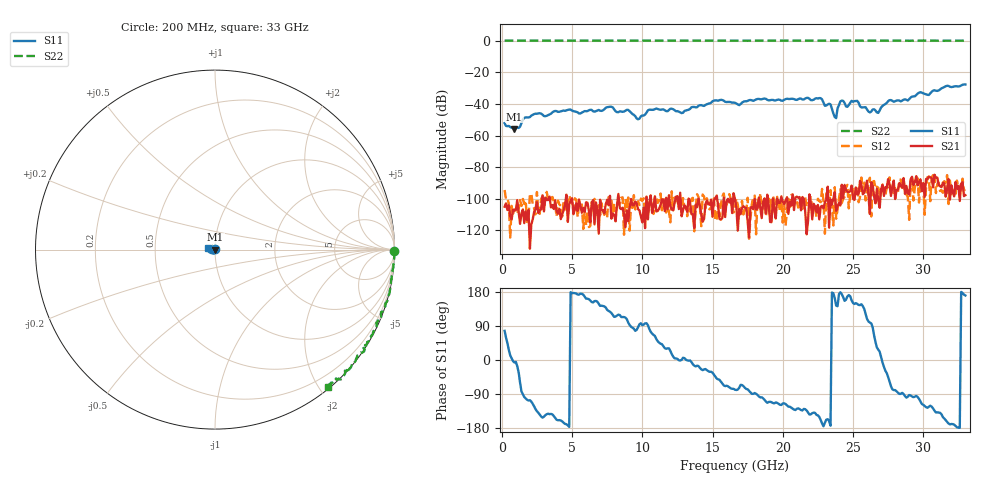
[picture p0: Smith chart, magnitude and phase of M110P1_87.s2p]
# GHZ S RI R 50
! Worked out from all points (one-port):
!   329 points, 200 MHz to 33 GHz, reference 50 ohm
!   lowest |S11| = -55.9 dB at 900 MHz (marker M1), VSWR 1.00, Z = 50.2 - j0.0185 ohm
!   |S11| at or under -10 dB: start of sweep to end of sweep
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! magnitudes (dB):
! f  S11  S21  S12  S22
! 200 MHz  -52.2  -105.0  -94.4  0.0
! 900 MHz  -55.9  -107.5  -106.7  0.0
! 2.4 GHz  -46.2  -106.8  -109.8  0.0
! 5.7 GHz  -45.5  -108.8  -103.6  0.0
! 7.8 GHz  -41.8  -112.5  -100.6  0.0
! 9 GHz  -43.8  -114.2  -99.1  0.0
! 9.7 GHz  -49.7  -106.5  -101.5  0.0
! 10.5 GHz  -43.6  -102.3  -106.7  0.0
! 11.2 GHz  -43.5  -106.3  -101.1  0.0
! 12.8 GHz  -45.8  -111.0  -108.5  0.0
! 15.1 GHz  -37.9  -101.1  -99.7  -0.1
! 16.6 GHz  -39.3  -100.3  -105.0  -0.1
! 22.1 GHz  -37.7  -113.0  -105.8  -0.1
! 23.4 GHz  -40.3  -100.4  -94.5  -0.1
! 23.8 GHz  -49.0  -107.6  -112.6  0.0
! 23.9 GHz  -42.8  -104.6  -106.9  0.0
! 24.2 GHz  -37.9  -91.1  -102.7  -0.1
! 24.6 GHz  -41.8  -95.5  -91.1  -0.1
! 25.3 GHz  -38.1  -97.2  -93.6  -0.1
! 26.8 GHz  -45.7  -101.1  -93.0  0.0
! 27.6 GHz  -37.7  -90.6  -86.5  0.0
! 33 GHz  -27.8  -97.7  -94.3  -0.1
